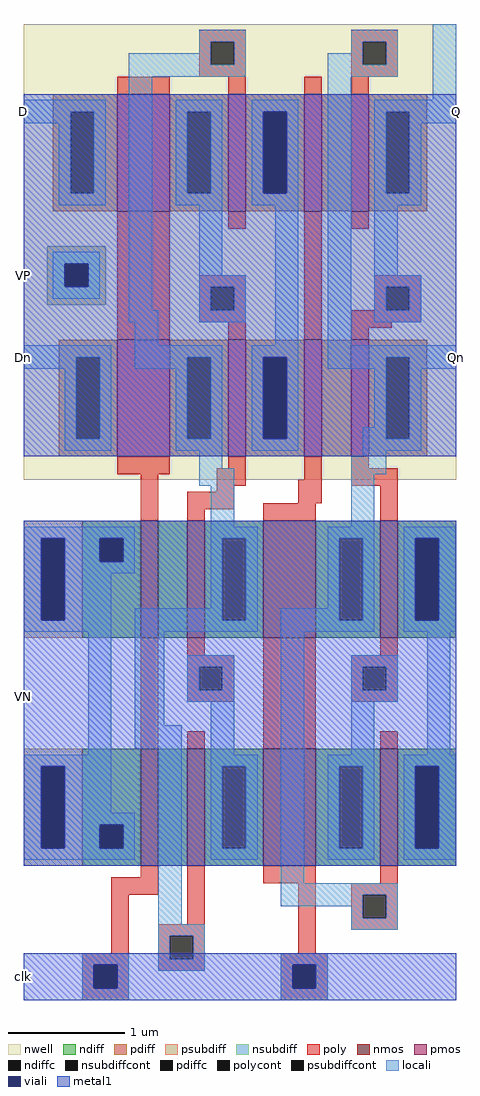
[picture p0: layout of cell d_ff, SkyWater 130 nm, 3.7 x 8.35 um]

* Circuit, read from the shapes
.subckt d_ff clk D Dn Q Qn VP VN
XM1 n1 clk VN VN sky130_fd_pr__nfet_01v8 w=1 l=0.15
XM2 n2 clk VN VN sky130_fd_pr__nfet_01v8 w=1 l=0.15
XM3 n3 n4 n1 VN sky130_fd_pr__nfet_01v8 w=1 l=0.15
XM4 n4 n3 n2 VN sky130_fd_pr__nfet_01v8 w=1 l=0.15
XM5 Q clk n3 VN sky130_fd_pr__nfet_01v8 w=1 l=0.45
XM6 Qn clk n4 VN sky130_fd_pr__nfet_01v8 w=1 l=0.45
XM7 VN Qn Q VN sky130_fd_pr__nfet_01v8 w=1 l=0.15
XM8 VN Q Qn VN sky130_fd_pr__nfet_01v8 w=1 l=0.15
XM9 n4 clk Dn VP sky130_fd_pr__pfet_01v8 w=1 l=0.45
XM10 n3 clk D VP sky130_fd_pr__pfet_01v8 w=1 l=0.45
XM11 VP n3 n4 VP sky130_fd_pr__pfet_01v8 w=1 l=0.15
XM12 VP n4 n3 VP sky130_fd_pr__pfet_01v8 w=1 l=0.15
XM13 n5 clk VP VP sky130_fd_pr__pfet_01v8 w=1 l=0.15
XM14 n6 clk VP VP sky130_fd_pr__pfet_01v8 w=1 l=0.15
XM15 Qn Q n5 VP sky130_fd_pr__pfet_01v8 w=1 l=0.15
XM16 Q Qn n6 VP sky130_fd_pr__pfet_01v8 w=1 l=0.15
.ends

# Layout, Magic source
magic
tech sky130A
<< nwell >>
rect -205 310 165 700
<< nmos >>
rect -105 175 -90 275
rect -65 175 -50 275
rect 0 175 45 275
rect 100 175 115 275
rect -105 -20 -90 80
rect -65 -20 -50 80
rect 0 -20 45 80
rect 100 -20 115 80
<< pmos >>
rect -125 540 -80 640
rect -30 540 -15 640
rect 35 540 50 640
rect 75 540 90 640
rect -125 330 -80 430
rect -30 330 -15 430
rect 35 330 50 430
rect 75 330 90 430
<< ndiff >>
rect -155 260 -105 275
rect -155 240 -140 260
rect -120 240 -105 260
rect -155 175 -105 240
rect -90 175 -65 275
rect -50 260 0 275
rect -50 190 -35 260
rect -15 190 0 260
rect -50 175 0 190
rect 45 260 100 275
rect 45 190 65 260
rect 85 190 100 260
rect 45 175 100 190
rect 115 260 165 275
rect 115 190 130 260
rect 150 190 165 260
rect 115 175 165 190
rect -155 15 -105 80
rect -155 -5 -140 15
rect -120 -5 -105 15
rect -155 -20 -105 -5
rect -90 -20 -65 80
rect -50 65 0 80
rect -50 -5 -35 65
rect -15 -5 0 65
rect -50 -20 0 -5
rect 45 65 100 80
rect 45 -5 65 65
rect 85 -5 100 65
rect 45 -20 100 -5
rect 115 65 165 80
rect 115 -5 130 65
rect 150 -5 165 65
rect 115 -20 165 -5
<< pdiff >>
rect -180 625 -125 640
rect -180 555 -165 625
rect -145 555 -125 625
rect -180 540 -125 555
rect -80 625 -30 640
rect -80 555 -65 625
rect -45 555 -30 625
rect -80 540 -30 555
rect -15 625 35 640
rect -15 555 0 625
rect 20 555 35 625
rect -15 540 35 555
rect 50 540 75 640
rect 90 625 140 640
rect 90 555 105 625
rect 125 555 140 625
rect 90 540 140 555
rect -175 415 -125 430
rect -175 345 -160 415
rect -140 345 -125 415
rect -175 330 -125 345
rect -80 415 -30 430
rect -80 345 -65 415
rect -45 345 -30 415
rect -80 330 -30 345
rect -15 415 35 430
rect -15 345 0 415
rect 20 345 35 415
rect -15 330 35 345
rect 50 330 75 430
rect 90 415 140 430
rect 90 345 105 415
rect 125 345 140 415
rect 90 330 140 345
<< ndiffc >>
rect -140 240 -120 260
rect -35 190 -15 260
rect 65 190 85 260
rect 130 190 150 260
rect -140 -5 -120 15
rect -35 -5 -15 65
rect 65 -5 85 65
rect 130 -5 150 65
<< pdiffc >>
rect -165 555 -145 625
rect -65 555 -45 625
rect 0 555 20 625
rect 105 555 125 625
rect -160 345 -140 415
rect -65 345 -45 415
rect 0 345 20 415
rect 105 345 125 415
<< psubdiff >>
rect -205 260 -155 275
rect -205 190 -190 260
rect -170 190 -155 260
rect -205 175 -155 190
rect -205 65 -155 80
rect -205 -5 -190 65
rect -170 -5 -155 65
rect -205 -20 -155 -5
<< nsubdiff >>
rect -185 495 -135 510
rect -185 475 -170 495
rect -150 475 -135 495
rect -185 460 -135 475
<< psubdiffcont >>
rect -190 190 -170 260
rect -190 -5 -170 65
<< nsubdiffcont >>
rect -170 475 -150 495
<< poly >>
rect -55 685 -15 695
rect -55 665 -45 685
rect -25 665 -15 685
rect -55 655 -15 665
rect 75 685 115 695
rect 75 665 85 685
rect 105 665 115 685
rect 75 655 115 665
rect -125 640 -80 655
rect -30 640 -15 655
rect 35 640 50 655
rect 75 640 90 655
rect -125 430 -80 540
rect -30 525 -15 540
rect -55 475 -15 485
rect -55 455 -45 475
rect -25 455 -15 475
rect -55 445 -15 455
rect -30 430 -15 445
rect 35 430 50 540
rect 75 525 90 540
rect 95 475 135 485
rect 95 455 105 475
rect 125 455 135 475
rect 75 445 135 455
rect 75 440 110 445
rect 75 430 90 440
rect -125 315 -80 330
rect -30 320 -15 330
rect -105 275 -90 315
rect -40 305 -15 320
rect 35 310 50 330
rect -40 300 -25 305
rect -65 285 -25 300
rect 30 290 50 310
rect 75 320 90 330
rect 75 305 115 320
rect -65 275 -50 285
rect 0 275 45 290
rect 100 275 115 305
rect -105 80 -90 175
rect -65 160 -50 175
rect -65 150 -25 160
rect -65 130 -55 150
rect -35 130 -25 150
rect -65 120 -25 130
rect -65 80 -50 95
rect 0 80 45 175
rect 100 160 115 175
rect 75 150 115 160
rect 75 130 85 150
rect 105 130 115 150
rect 75 120 115 130
rect 100 80 115 95
rect -105 -30 -90 -20
rect -130 -45 -90 -30
rect -130 -95 -115 -45
rect -65 -70 -50 -20
rect 0 -35 45 -20
rect 100 -35 115 -20
rect -155 -105 -115 -95
rect -155 -125 -145 -105
rect -125 -125 -115 -105
rect -90 -80 -50 -70
rect -90 -100 -80 -80
rect -60 -100 -50 -80
rect 30 -95 45 -35
rect 75 -45 115 -35
rect 75 -65 85 -45
rect 105 -65 115 -45
rect 75 -75 115 -65
rect -90 -110 -50 -100
rect 15 -105 55 -95
rect -155 -135 -115 -125
rect 15 -125 25 -105
rect 45 -125 55 -105
rect 15 -135 55 -125
<< polycont >>
rect -45 665 -25 685
rect 85 665 105 685
rect -45 455 -25 475
rect 105 455 125 475
rect -55 130 -35 150
rect 85 130 105 150
rect -145 -125 -125 -105
rect -80 -100 -60 -80
rect 85 -65 105 -45
rect 25 -125 45 -105
<< locali >>
rect -55 685 -15 695
rect -55 675 -45 685
rect -115 665 -45 675
rect -25 665 -15 685
rect 75 685 115 695
rect 75 675 85 685
rect -115 655 -15 665
rect 55 665 85 675
rect 105 665 115 685
rect 55 655 115 665
rect -205 625 -135 635
rect -205 615 -165 625
rect -175 555 -165 615
rect -145 555 -135 625
rect -175 545 -135 555
rect -180 495 -140 505
rect -180 475 -170 495
rect -150 475 -140 495
rect -180 465 -140 475
rect -115 455 -95 655
rect -75 625 -35 635
rect -75 555 -65 625
rect -45 555 -35 625
rect -75 545 -35 555
rect -10 625 30 635
rect -10 555 0 625
rect 20 555 30 625
rect -10 545 30 555
rect -55 485 -35 545
rect -55 475 -15 485
rect -55 455 -45 475
rect -25 455 -15 475
rect -115 445 -90 455
rect -55 445 -15 455
rect -110 425 -90 445
rect 10 425 30 545
rect -205 415 -130 425
rect -205 405 -160 415
rect -170 345 -160 405
rect -140 345 -130 415
rect -110 415 -35 425
rect -110 405 -65 415
rect -170 335 -130 345
rect -75 345 -65 405
rect -45 345 -35 415
rect -75 335 -35 345
rect -10 415 30 425
rect -10 345 0 415
rect 20 345 30 415
rect 55 425 75 655
rect 145 635 165 700
rect 95 625 165 635
rect 95 555 105 625
rect 125 615 165 625
rect 125 555 135 615
rect 95 545 135 555
rect 95 485 115 545
rect 95 475 135 485
rect 95 455 105 475
rect 125 455 135 475
rect 95 445 135 455
rect 55 415 165 425
rect 55 405 105 415
rect 95 355 105 405
rect -10 335 30 345
rect 85 345 105 355
rect 125 405 165 415
rect 125 345 135 405
rect 85 335 135 345
rect -55 320 -35 335
rect 85 330 105 335
rect -55 305 -25 320
rect -45 270 -25 305
rect 75 315 105 330
rect 75 270 95 315
rect -205 260 -110 270
rect -205 190 -190 260
rect -170 240 -140 260
rect -120 240 -110 260
rect -170 230 -110 240
rect -45 260 -5 270
rect -170 190 -130 230
rect -45 200 -35 260
rect -205 180 -130 190
rect -150 75 -130 180
rect -110 190 -35 200
rect -15 190 -5 260
rect 55 260 95 270
rect 55 200 65 260
rect -110 180 -5 190
rect 15 190 65 200
rect 85 190 95 260
rect 15 180 95 190
rect 120 260 165 270
rect 120 190 130 260
rect 150 190 165 260
rect 120 180 165 190
rect -110 100 -85 180
rect -65 150 -25 160
rect -65 130 -55 150
rect -35 130 -25 150
rect -65 120 -25 130
rect -110 80 -70 100
rect -205 65 -130 75
rect -205 -5 -190 65
rect -170 25 -130 65
rect -170 15 -110 25
rect -170 -5 -140 15
rect -120 -5 -110 15
rect -205 -15 -110 -5
rect -90 -70 -70 80
rect -45 75 -25 120
rect -45 65 -5 75
rect -45 -5 -35 65
rect -15 -5 -5 65
rect -45 -15 -5 -5
rect 15 -35 35 180
rect 75 150 115 160
rect 75 130 85 150
rect 105 130 115 150
rect 75 120 115 130
rect 75 75 95 120
rect 140 75 160 180
rect 55 65 95 75
rect 55 -5 65 65
rect 85 -5 95 65
rect 55 -15 95 -5
rect 120 65 165 75
rect 120 -5 130 65
rect 150 -5 165 65
rect 120 -15 165 -5
rect 15 -45 115 -35
rect 15 -55 85 -45
rect 75 -65 85 -55
rect 105 -65 115 -45
rect -90 -80 -50 -70
rect 75 -75 115 -65
rect -155 -105 -115 -95
rect -155 -125 -145 -105
rect -125 -125 -115 -105
rect -90 -100 -80 -80
rect -60 -100 -50 -80
rect -90 -110 -50 -100
rect 15 -105 55 -95
rect -155 -135 -115 -125
rect 15 -125 25 -105
rect 45 -125 55 -105
rect 15 -135 55 -125
<< viali >>
rect -170 475 -150 495
rect 0 555 20 625
rect 0 345 20 415
rect -190 190 -170 260
rect -140 240 -120 260
rect 130 190 150 260
rect -190 -5 -170 65
rect -140 -5 -120 15
rect 130 -5 150 65
rect -145 -125 -125 -105
rect 25 -125 45 -105
<< metal1 >>
rect -205 625 165 640
rect -205 555 0 625
rect 20 555 165 625
rect -205 495 165 555
rect -205 475 -170 495
rect -150 475 165 495
rect -205 415 165 475
rect -205 345 0 415
rect 20 345 165 415
rect -205 330 165 345
rect -205 260 165 275
rect -205 190 -190 260
rect -170 240 -140 260
rect -120 240 130 260
rect -170 190 130 240
rect 150 190 165 260
rect -205 65 165 190
rect -205 -5 -190 65
rect -170 15 130 65
rect -170 -5 -140 15
rect -120 -5 130 15
rect 150 -5 165 65
rect -205 -20 165 -5
rect -205 -105 165 -95
rect -205 -125 -145 -105
rect -125 -125 25 -105
rect 45 -125 165 -105
rect -205 -135 165 -125
<< labels >>
rlabel metal1 -205 -115 -205 -115 7 clk
port 0 w
rlabel locali 165 625 165 625 3 Q
port 3 e
rlabel locali 165 415 165 415 3 Qn
port 4 e
rlabel metal1 -205 485 -205 485 7 VP
port 5 w
rlabel metal1 -205 125 -205 125 7 VN
port 6 w
rlabel locali -205 625 -205 625 7 D
port 1 w
rlabel locali -205 415 -205 415 7 Dn
port 2 w
<< end >>
